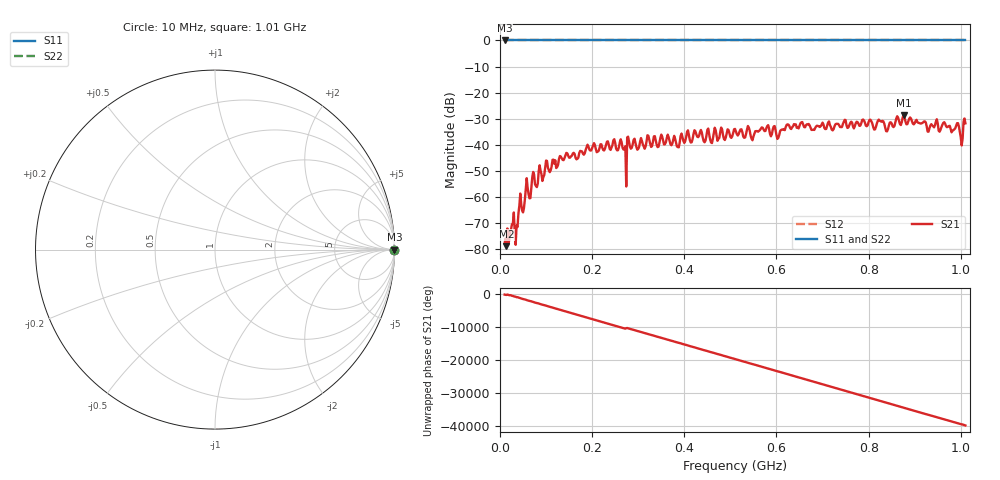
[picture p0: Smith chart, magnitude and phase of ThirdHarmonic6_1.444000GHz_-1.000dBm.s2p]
! 8/16/2025 4:42:57 PM
! C:\ANRITSUVNA\TEMP\TEMP.S2P
! CHANNEL.1
! TR.MEASUREMENT
! RAW.DATA
! RF.CORRECTION.OFF
! AVERAGING.OFF
! IF.BANDWIDTH: 5KHZ
! SWEEPTYPE:  FREQ.SWEEP(Linear)
! Reference Plane Port Info
! PORT:  PORT1  PORT2
! DISTANCE:  0  m  0  m
! TIME:  0  s  0  s
! PHASE.OFFSET:  0  deg.  0  deg.
! LOSS:  0  dB  0  dB
! REF.LOSS:  0  dB  0  dB
! REF.FREQ:  0  Hz  0  Hz
! Power Info
! POWER:  -20  dBm  -20  dBm
! EFF.POWER:  -20  dBm  -20  dBm
! SOURCE.ATTEN:  0  dB  0  dB
! TEST.ATTEN:  0  dB  0  dB
# GHZ S RI R 50.0
! FREQ.GHZ  S11RE  S11IM  S21RE  S21IM  S12RE  S12IM  S22RE  S22IM
!; PortSelection: Port_12
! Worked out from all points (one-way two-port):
!   501 points, 10 MHz to 1.01 GHz, reference 50 ohm
!   highest |S21| = -28.62 dB at 876 MHz (marker M1); lowest = -78.8 dB at 14 MHz (marker M2)
!   lowest |S11| = 0.0 dB at 10 MHz (marker M3)
!   |S11| at or under -10 dB: nowhere
!   |S22| runs from 0.0 to 0.0 dB; largest |S21 - S12| = 1
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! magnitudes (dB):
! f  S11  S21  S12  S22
! 10 MHz  0.0  -77.7  0.0  0.0
! 14 MHz  0.0  -78.8  0.0  0.0
! 26 MHz  0.0  -70.4  0.0  0.0
! 36 MHz  0.0  -70.9  0.0  0.0
! 44 MHz  0.0  -58.6  0.0  0.0
! 50 MHz  0.0  -65.8  0.0  0.0
! 58 MHz  0.0  -52.8  0.0  0.0
! 64 MHz  0.0  -60.5  0.0  0.0
! 72 MHz  0.0  -50.3  0.0  0.0
! 178 MHz  0.0  -42.5  0.0  0.0
! 246 MHz  0.0  -38.2  0.0  0.0
! 264 MHz  0.0  -39.0  0.0  0.0
! 270 MHz  0.0  -41.6  0.0  0.0
! 280 MHz  0.0  -38.8  0.0  0.0
! 344 MHz  0.0  -40.7  0.0  0.0
! 510 MHz  0.0  -33.9  0.0  0.0
! 678 MHz  0.0  -34.2  0.0  0.0
! 844 MHz  0.0  -32.5  0.0  0.0
! 876 MHz  0.0  -28.6  0.0  0.0
! 992 MHz  0.0  -31.7  0.0  0.0
! 1 GHz  0.0  -37.2  0.0  0.0
! 1.01 GHz  0.0  -31.7  0.0  0.0
